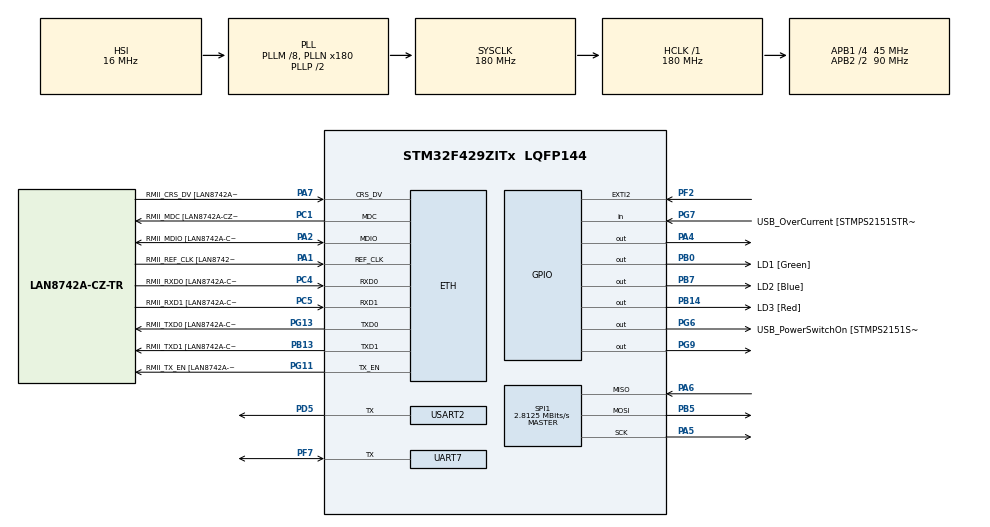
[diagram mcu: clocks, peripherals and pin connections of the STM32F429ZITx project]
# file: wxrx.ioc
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ETH.MediaInterface=ETH_MEDIA_INTERFACE_RMII
FREERTOS.Queues01=coreToLCD,3,15,1,Dynamic,NULL,NULL;radioToCore,3,25,1,Dynamic,NULL,NULL
FREERTOS.Tasks01=coreTask,16,128,StartCoreTask,Default,NULL,Dynamic,NULL,NULL;radioTask,16,128,StartRadioTask,Default,NULL,Dynamic,NULL,NULL;lcdTask,16,128,StartLCDTask,Default,NULL,Dynamic,NULL,NULL
LWIP.Version=v2.1.2_Cube
Mcu.Family=STM32F4
Mcu.Name=STM32F429ZITx
Mcu.Package=LQFP144
NVIC.ETH_IRQn=true\:0\:0\:false\:false\:true\:true\:false\:true
NVIC.PriorityGroup=NVIC_PRIORITYGROUP_4
NVIC.TIM7_IRQn=true\:0\:0\:false\:false\:true\:false\:false\:true
NVIC.TimeBase=TIM7_IRQn
NVIC.TimeBaseIP=TIM7
PA1.GPIO_Label=RMII_REF_CLK [LAN8742A-CZ-TR_REFCLK0]
PA1.Mode=RMII
PA1.Signal=ETH_REF_CLK
PA10.GPIO_Label=USB_ID
PA10.Signal=USB_OTG_FS_ID
PA11.GPIO_Label=USB_DM
PA11.Signal=USB_OTG_FS_DM
PA12.GPIO_Label=USB_DP
PA12.Signal=USB_OTG_FS_DP
PA13.GPIO_Label=TMS
PA13.Signal=SYS_JTMS-SWDIO
PA14.GPIO_Label=TCK
PA14.Signal=SYS_JTCK-SWCLK
PA2.GPIO_Label=RMII_MDIO [LAN8742A-CZ-TR_MDIO]
PA2.Mode=RMII
PA2.Signal=ETH_MDIO
PA4.Signal=GPIO_Output
PA5.Mode=Full_Duplex_Master
PA5.Signal=SPI1_SCK
PA6.Mode=Full_Duplex_Master
PA6.Signal=SPI1_MISO
PA7.GPIO_Label=RMII_CRS_DV [LAN8742A-CZ-TR_CRS_DV]
PA7.Mode=RMII
PA7.Signal=ETH_CRS_DV
PA8.GPIO_Label=USB_SOF [TP1]
PA8.Signal=USB_OTG_FS_SOF
PA9.GPIO_Label=USB_VBUS
PA9.Signal=USB_OTG_FS_VBUS
PB0.GPIO_Label=LD1 [Green]
PB0.Signal=GPIO_Output
PB13.GPIO_Label=RMII_TXD1 [LAN8742A-CZ-TR_TXD1]
PB13.Mode=RMII
PB13.Signal=ETH_TXD1
PB14.GPIO_Label=LD3 [Red]
PB14.Signal=GPIO_Output
PB5.Mode=Full_Duplex_Master
PB5.Signal=SPI1_MOSI
PB7.GPIO_Label=LD2 [Blue]
PB7.Signal=GPIO_Output
PC1.GPIO_Label=RMII_MDC [LAN8742A-CZ-TR_MDC]
PC1.Mode=RMII
PC1.Signal=ETH_MDC
PC14/OSC32_IN.Signal=RCC_OSC32_IN
PC15/OSC32_OUT.Signal=RCC_OSC32_OUT
PC4.GPIO_Label=RMII_RXD0 [LAN8742A-CZ-TR_RXD0]
PC4.Mode=RMII
PC4.Signal=ETH_RXD0
PC5.GPIO_Label=RMII_RXD1 [LAN8742A-CZ-TR_RXD1]
PC5.Mode=RMII
PC5.Signal=ETH_RXD1
PD5.Mode=Half_duplex(single_wire_mode)
PD5.Signal=USART2_TX
PD8.GPIO_Label=STLK_RX [STM32F103CBT6_PA3]
PD8.Signal=USART3_TX
PD9.GPIO_Label=STLK_TX [STM32F103CBT6_PA2]
PD9.Signal=USART3_RX
PF2.Signal=GPXTI2
PF7.Mode=Half_duplex(single_wire_mode)
PF7.Signal=UART7_TX
PG11.GPIO_Label=RMII_TX_EN [LAN8742A-CZ-TR_TXEN]
PG11.Mode=RMII
PG11.Signal=ETH_TX_EN
PG13.GPIO_Label=RMII_TXD0 [LAN8742A-CZ-TR_TXD0]
PG13.Mode=RMII
PG13.Signal=ETH_TXD0
PG6.GPIO_Label=USB_PowerSwitchOn [STMPS2151STR_EN]
PG6.Signal=GPIO_Output
PG7.GPIO_Label=USB_OverCurrent [STMPS2151STR_FAULT]
PG7.Signal=GPIO_Input
PG9.Signal=GPIO_Output
PH0/OSC_IN.GPIO_Label=MCO [STM32F103CBT6_PA8]
PH0/OSC_IN.Signal=RCC_OSC_IN
PH1/OSC_OUT.Signal=RCC_OSC_OUT
ProjectManager.HeapSize=0x200
ProjectManager.StackSize=0x400
ProjectManager.TargetToolchain=STM32CubeIDE
RCC.48MHZClocksFreq_Value=90000000
RCC.AHBFreq_Value=180000000
RCC.APB1CLKDivider=RCC_HCLK_DIV4
RCC.APB1Freq_Value=45000000
RCC.APB1TimFreq_Value=90000000
RCC.APB2CLKDivider=RCC_HCLK_DIV2
RCC.APB2Freq_Value=90000000
RCC.APB2TimFreq_Value=180000000
RCC.CortexFreq_Value=180000000
RCC.HCLKFreq_Value=180000000
RCC.HSE_VALUE=8000000
RCC.HSI_VALUE=16000000
RCC.LSE_VALUE=32768
RCC.PLLM=8
RCC.PLLMUL=RCC_PLL_MUL9
RCC.PLLN=180
RCC.PRESCALERUSB=RCC_USBCLKSOURCE_PLL_DIV1_5
RCC.SYSCLKFreq_VALUE=180000000
RCC.SYSCLKSource=RCC_SYSCLKSOURCE_PLLCLK
RCC.SYSCLKSourceVirtual=RCC_SYSCLKSOURCE_PLLCLK
RCC.USBFreq_Value=48000000
RCC.VCOOutputFreq_Value=360000000
SPI1.BaudRatePrescaler=SPI_BAUDRATEPRESCALER_32
SPI1.CalculateBaudRate=2.8125 MBits/s
SPI1.Direction=SPI_DIRECTION_2LINES
SPI1.Mode=SPI_MODE_MASTER
SPI1.VirtualType=VM_MASTER
UART7.BaudRate=9600
UART7.VirtualMode=Asynchronous
USART2.Mode=MODE_TX
USART2.VirtualMode=VM_ASYNC
VP_FREERTOS_VS_CMSIS_V2.Mode=CMSIS_V2
VP_LWIP_VS_Enabled.Mode=Enabled
VP_RTC_VS_RTC_Activate.Mode=RTC_Enabled
VP_RTC_VS_RTC_Calendar.Mode=RTC_Calendar
VP_SYS_VS_tim7.Mode=TIM7
board=NUCLEO-F429ZI

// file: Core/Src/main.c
/* USER CODE BEGIN Header */
/**
  ******************************************************************************
  * @file           : main.c
  * @brief          : Main program body
  ******************************************************************************
  * @attention
  *
  * <h2><center>&copy; Copyright (c) 2020 STMicroelectronics.
  * All rights reserved.</center></h2>
  *
  * This software component is licensed by ST under BSD 3-Clause license,
  * the "License"; You may not use this file except in compliance with the
  * License. You may obtain a copy of the License at:
  *                        opensource.org/licenses/BSD-3-Clause
  *
  ******************************************************************************
  */
/* USER CODE END Header */

#include "main.h"
#include "cmsis_os.h"
#include "lwip.h"

/* USER CODE BEGIN Includes */
#include "core.h"
#include "lcd.h"
#include "radio.h"
/* USER CODE END Includes */

RTC_HandleTypeDef hrtc;

SPI_HandleTypeDef hspi1;

UART_HandleTypeDef huart7;
UART_HandleTypeDef huart2;

/* Definitions for coreTask */
osThreadId_t coreTaskHandle;
const osThreadAttr_t coreTask_attributes = {
  .name = "coreTask",
  .priority = (osPriority_t) osPriorityBelowNormal,
  .stack_size = 128 * 4
};
/* Definitions for radioTask */
osThreadId_t radioTaskHandle;
const osThreadAttr_t radioTask_attributes = {
  .name = "radioTask",
  .priority = (osPriority_t) osPriorityBelowNormal,
  .stack_size = 128 * 4
};
/* Definitions for lcdTask */
osThreadId_t lcdTaskHandle;
const osThreadAttr_t lcdTask_attributes = {
  .name = "lcdTask",
  .priority = (osPriority_t) osPriorityBelowNormal,
  .stack_size = 128 * 4
};
/* Definitions for coreToLCD */
osMessageQueueId_t coreToLCDHandle;
const osMessageQueueAttr_t coreToLCD_attributes = {
  .name = "coreToLCD"
};
/* Definitions for radioToCore */
osMessageQueueId_t radioToCoreHandle;
const osMessageQueueAttr_t radioToCore_attributes = {
  .name = "radioToCore"
};

void SystemClock_Config(void);
static void MX_GPIO_Init(void);
static void MX_RTC_Init(void);
static void MX_SPI1_Init(void);
static void MX_UART7_Init(void);
static void MX_USART2_UART_Init(void);
void StartCoreTask(void *argument);
void StartRadioTask(void *argument);
void StartLCDTask(void *argument);

int main(void)
{

  /* MCU Configuration--------------------------------------------------------*/

  /* Reset of all peripherals, Initializes the Flash interface and the Systick. */
  HAL_Init();

  /* Configure the system clock */
  SystemClock_Config();

  /* Initialize all configured peripherals */
  MX_GPIO_Init();
  MX_RTC_Init();
  MX_SPI1_Init();
  MX_UART7_Init();
  MX_USART2_UART_Init();

  /* Init scheduler */
  osKernelInitialize();

  /* Create the queue(s) */
  /* creation of coreToLCD */
  coreToLCDHandle = osMessageQueueNew (3, 15, &coreToLCD_attributes);

  /* creation of radioToCore */
  radioToCoreHandle = osMessageQueueNew (3, 25, &radioToCore_attributes);

  /* Create the thread(s) */
  /* creation of coreTask */
  coreTaskHandle = osThreadNew(StartCoreTask, NULL, &coreTask_attributes);

  /* creation of radioTask */
  radioTaskHandle = osThreadNew(StartRadioTask, NULL, &radioTask_attributes);

  /* creation of lcdTask */
  lcdTaskHandle = osThreadNew(StartLCDTask, NULL, &lcdTask_attributes);

  /* Start scheduler */
  osKernelStart();

  /* We should never get here as control is now taken by the scheduler */
  /* Infinite loop */
  while (1)
  {

  }
}

void SystemClock_Config(void)
{
  RCC_OscInitTypeDef RCC_OscInitStruct = {0};
  RCC_ClkInitTypeDef RCC_ClkInitStruct = {0};
  RCC_PeriphCLKInitTypeDef PeriphClkInitStruct = {0};

  /** Configure the main internal regulator output voltage
  */
  __HAL_RCC_PWR_CLK_ENABLE();
  __HAL_PWR_VOLTAGESCALING_CONFIG(PWR_REGULATOR_VOLTAGE_SCALE1);
  /** Initializes the CPU, AHB and APB busses clocks
  */
  RCC_OscInitStruct.OscillatorType = RCC_OSCILLATORTYPE_HSI|RCC_OSCILLATORTYPE_LSI;
  RCC_OscInitStruct.HSIState = RCC_HSI_ON;
  RCC_OscInitStruct.HSICalibrationValue = RCC_HSICALIBRATION_DEFAULT;
  RCC_OscInitStruct.LSIState = RCC_LSI_ON;
  RCC_OscInitStruct.PLL.PLLState = RCC_PLL_ON;
  RCC_OscInitStruct.PLL.PLLSource = RCC_PLLSOURCE_HSI;
  RCC_OscInitStruct.PLL.PLLM = 8;
  RCC_OscInitStruct.PLL.PLLN = 180;
  RCC_OscInitStruct.PLL.PLLP = RCC_PLLP_DIV2;
  RCC_OscInitStruct.PLL.PLLQ = 4;
  if (HAL_RCC_OscConfig(&RCC_OscInitStruct) != HAL_OK)
  {
    Error_Handler();
  }
  /** Activate the Over-Drive mode
  */
  if (HAL_PWREx_EnableOverDrive() != HAL_OK)
  {
    Error_Handler();
  }
  /** Initializes the CPU, AHB and APB busses clocks
  */
  RCC_ClkInitStruct.ClockType = RCC_CLOCKTYPE_HCLK|RCC_CLOCKTYPE_SYSCLK
                              |RCC_CLOCKTYPE_PCLK1|RCC_CLOCKTYPE_PCLK2;
  RCC_ClkInitStruct.SYSCLKSource = RCC_SYSCLKSOURCE_PLLCLK;
  RCC_ClkInitStruct.AHBCLKDivider = RCC_SYSCLK_DIV1;
  RCC_ClkInitStruct.APB1CLKDivider = RCC_HCLK_DIV4;
  RCC_ClkInitStruct.APB2CLKDivider = RCC_HCLK_DIV2;

  if (HAL_RCC_ClockConfig(&RCC_ClkInitStruct, FLASH_LATENCY_5) != HAL_OK)
  {
    Error_Handler();
  }
  PeriphClkInitStruct.PeriphClockSelection = RCC_PERIPHCLK_RTC;
  PeriphClkInitStruct.RTCClockSelection = RCC_RTCCLKSOURCE_LSI;
  if (HAL_RCCEx_PeriphCLKConfig(&PeriphClkInitStruct) != HAL_OK)
  {
    Error_Handler();
  }
}

static void MX_RTC_Init(void)
{

  RTC_TimeTypeDef sTime = {0};
  RTC_DateTypeDef sDate = {0};

  /** Initialize RTC Only
  */
  hrtc.Instance = RTC;
  hrtc.Init.HourFormat = RTC_HOURFORMAT_24;
  hrtc.Init.AsynchPrediv = 127;
  hrtc.Init.SynchPrediv = 255;
  hrtc.Init.OutPut = RTC_OUTPUT_DISABLE;
  hrtc.Init.OutPutPolarity = RTC_OUTPUT_POLARITY_HIGH;
  hrtc.Init.OutPutType = RTC_OUTPUT_TYPE_OPENDRAIN;
  if (HAL_RTC_Init(&hrtc) != HAL_OK)
  {
    Error_Handler();
  }

  /** Initialize RTC and set the Time and Date
  */
  sTime.Hours = 0x0;
  sTime.Minutes = 0x0;
  sTime.Seconds = 0x0;
  sTime.DayLightSaving = RTC_DAYLIGHTSAVING_NONE;
  sTime.StoreOperation = RTC_STOREOPERATION_RESET;
  if (HAL_RTC_SetTime(&hrtc, &sTime, RTC_FORMAT_BCD) != HAL_OK)
  {
    Error_Handler();
  }
  sDate.WeekDay = RTC_WEEKDAY_MONDAY;
  sDate.Month = RTC_MONTH_JANUARY;
  sDate.Date = 0x1;
  sDate.Year = 0x0;

  if (HAL_RTC_SetDate(&hrtc, &sDate, RTC_FORMAT_BCD) != HAL_OK)
  {
    Error_Handler();
  }

}

static void MX_SPI1_Init(void)
{

  /* SPI1 parameter configuration*/
  hspi1.Instance = SPI1;
  hspi1.Init.Mode = SPI_MODE_MASTER;
  hspi1.Init.Direction = SPI_DIRECTION_2LINES;
  hspi1.Init.DataSize = SPI_DATASIZE_8BIT;
  hspi1.Init.CLKPolarity = SPI_POLARITY_LOW;
  hspi1.Init.CLKPhase = SPI_PHASE_1EDGE;
  hspi1.Init.NSS = SPI_NSS_SOFT;
  hspi1.Init.BaudRatePrescaler = SPI_BAUDRATEPRESCALER_32;
  hspi1.Init.FirstBit = SPI_FIRSTBIT_MSB;
  hspi1.Init.TIMode = SPI_TIMODE_DISABLE;
  hspi1.Init.CRCCalculation = SPI_CRCCALCULATION_DISABLE;
  hspi1.Init.CRCPolynomial = 10;
  if (HAL_SPI_Init(&hspi1) != HAL_OK)
  {
    Error_Handler();
  }

}

static void MX_UART7_Init(void)
{

  huart7.Instance = UART7;
  huart7.Init.BaudRate = 9600;
  huart7.Init.WordLength = UART_WORDLENGTH_8B;
  huart7.Init.StopBits = UART_STOPBITS_1;
  huart7.Init.Parity = UART_PARITY_NONE;
  huart7.Init.Mode = UART_MODE_TX_RX;
  huart7.Init.HwFlowCtl = UART_HWCONTROL_NONE;
  huart7.Init.OverSampling = UART_OVERSAMPLING_16;
  if (HAL_HalfDuplex_Init(&huart7) != HAL_OK)
  {
    Error_Handler();
  }

}

static void MX_USART2_UART_Init(void)
{

  huart2.Instance = USART2;
  huart2.Init.BaudRate = 115200;
  huart2.Init.WordLength = UART_WORDLENGTH_8B;
  huart2.Init.StopBits = UART_STOPBITS_1;
  huart2.Init.Parity = UART_PARITY_NONE;
  huart2.Init.Mode = UART_MODE_TX;
  huart2.Init.HwFlowCtl = UART_HWCONTROL_NONE;
  huart2.Init.OverSampling = UART_OVERSAMPLING_16;
  if (HAL_HalfDuplex_Init(&huart2) != HAL_OK)
  {
    Error_Handler();
  }

}

static void MX_GPIO_Init(void)
{
  GPIO_InitTypeDef GPIO_InitStruct = {0};

  /* GPIO Ports Clock Enable */
  __HAL_RCC_GPIOC_CLK_ENABLE();
  __HAL_RCC_GPIOF_CLK_ENABLE();
  __HAL_RCC_GPIOH_CLK_ENABLE();
  __HAL_RCC_GPIOA_CLK_ENABLE();
  __HAL_RCC_GPIOB_CLK_ENABLE();
  __HAL_RCC_GPIOD_CLK_ENABLE();
  __HAL_RCC_GPIOG_CLK_ENABLE();

  /*Configure GPIO pin Output Level */
  HAL_GPIO_WritePin(GPIOA, GPIO_PIN_4, GPIO_PIN_RESET);

  /*Configure GPIO pin Output Level */
  HAL_GPIO_WritePin(GPIOB, LD1_Pin|LD3_Pin|LD2_Pin, GPIO_PIN_RESET);

  /*Configure GPIO pin Output Level */
  HAL_GPIO_WritePin(GPIOG, USB_PowerSwitchOn_Pin|GPIO_PIN_9, GPIO_PIN_RESET);

  /*Configure GPIO pin : PF2 */
  GPIO_InitStruct.Pin = GPIO_PIN_2;
  GPIO_InitStruct.Mode = GPIO_MODE_IT_RISING;
  GPIO_InitStruct.Pull = GPIO_NOPULL;
  HAL_GPIO_Init(GPIOF, &GPIO_InitStruct);

  /*Configure GPIO pin : PA4 */
  GPIO_InitStruct.Pin = GPIO_PIN_4;
  GPIO_InitStruct.Mode = GPIO_MODE_OUTPUT_PP;
  GPIO_InitStruct.Pull = GPIO_NOPULL;
  GPIO_InitStruct.Speed = GPIO_SPEED_FREQ_LOW;
  HAL_GPIO_Init(GPIOA, &GPIO_InitStruct);

  /*Configure GPIO pins : LD1_Pin LD3_Pin LD2_Pin */
  GPIO_InitStruct.Pin = LD1_Pin|LD3_Pin|LD2_Pin;
  GPIO_InitStruct.Mode = GPIO_MODE_OUTPUT_PP;
  GPIO_InitStruct.Pull = GPIO_NOPULL;
  GPIO_InitStruct.Speed = GPIO_SPEED_FREQ_LOW;
  HAL_GPIO_Init(GPIOB, &GPIO_InitStruct);

  /*Configure GPIO pins : STLK_RX_Pin STLK_TX_Pin */
  GPIO_InitStruct.Pin = STLK_RX_Pin|STLK_TX_Pin;
  GPIO_InitStruct.Mode = GPIO_MODE_AF_PP;
  GPIO_InitStruct.Pull = GPIO_NOPULL;
  GPIO_InitStruct.Speed = GPIO_SPEED_FREQ_VERY_HIGH;
  GPIO_InitStruct.Alternate = GPIO_AF7_USART3;
  HAL_GPIO_Init(GPIOD, &GPIO_InitStruct);

  /*Configure GPIO pins : USB_PowerSwitchOn_Pin PG9 */
  GPIO_InitStruct.Pin = USB_PowerSwitchOn_Pin|GPIO_PIN_9;
  GPIO_InitStruct.Mode = GPIO_MODE_OUTPUT_PP;
  GPIO_InitStruct.Pull = GPIO_NOPULL;
  GPIO_InitStruct.Speed = GPIO_SPEED_FREQ_LOW;
  HAL_GPIO_Init(GPIOG, &GPIO_InitStruct);

  /*Configure GPIO pin : USB_OverCurrent_Pin */
  GPIO_InitStruct.Pin = USB_OverCurrent_Pin;
  GPIO_InitStruct.Mode = GPIO_MODE_INPUT;
  GPIO_InitStruct.Pull = GPIO_NOPULL;
  HAL_GPIO_Init(USB_OverCurrent_GPIO_Port, &GPIO_InitStruct);

  /*Configure GPIO pins : USB_SOF_Pin USB_ID_Pin USB_DM_Pin USB_DP_Pin */
  GPIO_InitStruct.Pin = USB_SOF_Pin|USB_ID_Pin|USB_DM_Pin|USB_DP_Pin;
  GPIO_InitStruct.Mode = GPIO_MODE_AF_PP;
  GPIO_InitStruct.Pull = GPIO_NOPULL;
  GPIO_InitStruct.Speed = GPIO_SPEED_FREQ_VERY_HIGH;
  GPIO_InitStruct.Alternate = GPIO_AF10_OTG_FS;
  HAL_GPIO_Init(GPIOA, &GPIO_InitStruct);

  /*Configure GPIO pin : USB_VBUS_Pin */
  GPIO_InitStruct.Pin = USB_VBUS_Pin;
  GPIO_InitStruct.Mode = GPIO_MODE_INPUT;
  GPIO_InitStruct.Pull = GPIO_NOPULL;
  HAL_GPIO_Init(USB_VBUS_GPIO_Port, &GPIO_InitStruct);

}

void StartCoreTask(void *argument)
{
  /* init code for LWIP */
  MX_LWIP_Init();
  /* USER CODE BEGIN 5 */
  Core_Set_RTC_Handle( &hrtc );
  Core_Set_LCD_Message_Queue( coreToLCDHandle );
  Core_Set_Radio_Message_Queue( radioToCoreHandle );
  Core_Set_Debug_UART( &huart2 );
  /* Infinite loop */
  for(;;)
  {
    Core_Run();
    osThreadYield();
  }
  /* USER CODE END 5 */
}

void StartRadioTask(void *argument)
{
  /* USER CODE BEGIN StartRadioTask */
  Radio_Set_SPI( &hspi1 );
  Radio_Set_Reset_Pin( GPIOG, GPIO_PIN_9 );
  Radio_Set_NCS_Pin( GPIOA, GPIO_PIN_4 );
  Radio_Set_Message_Queue( radioToCoreHandle );
  /* Infinite loop */
  for(;;)
  {
    Radio_Run();
    osThreadYield();
  }
  /* USER CODE END StartRadioTask */
}

void StartLCDTask(void *argument)
{
  /* USER CODE BEGIN StartLCDTask */
  LCD_Set_UART( &huart7 );
  LCD_Set_Message_Queue( coreToLCDHandle );
  LCD_Set_RTC( &hrtc );
  LCD_Init();
  /* Infinite loop */
  for(;;)
  {
    LCD_Run();
    osThreadYield();
  }
  /* USER CODE END StartLCDTask */
}

 /**
  * @brief  Period elapsed callback in non blocking mode
  * @note   This function is called  when TIM7 interrupt took place, inside
  * HAL_TIM_IRQHandler(). It makes a direct call to HAL_IncTick() to increment
  * a global variable "uwTick" used as application time base.
  * @param  htim : TIM handle
  * @retval None
  */
void HAL_TIM_PeriodElapsedCallback(TIM_HandleTypeDef *htim)
{
  if (htim->Instance == TIM7) {
    HAL_IncTick();
  }
}

void Error_Handler(void)
{
}

/************************ (C) COPYRIGHT STMicroelectronics *****END OF FILE****/
